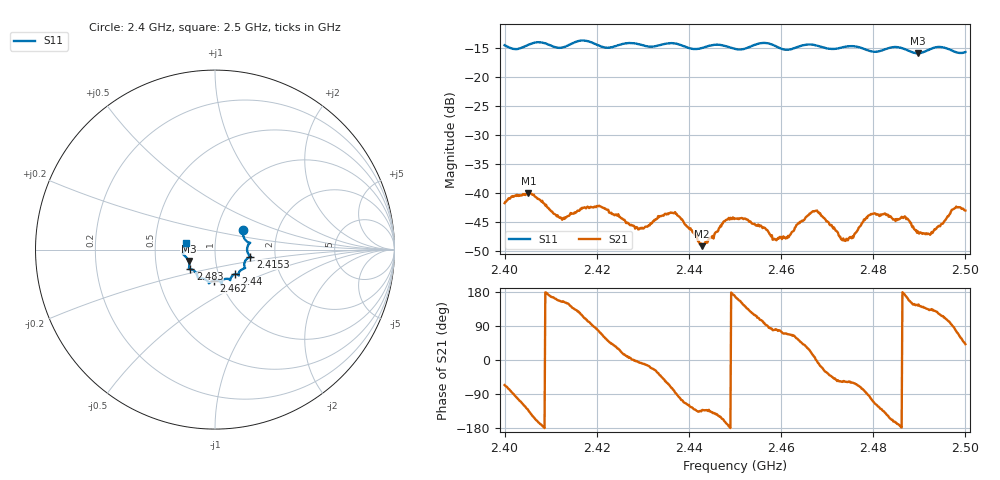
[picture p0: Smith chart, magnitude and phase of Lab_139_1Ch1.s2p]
# Hz S RI R 50
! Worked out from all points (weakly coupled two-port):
!   601 points, 2.4 GHz to 2.5 GHz, reference 50 ohm
!   highest |S21| = -40.01 dB at 2.4052 GHz (marker M1); lowest = -49.2 dB at 2.4428 GHz (marker M2)
!   lowest |S11| = -15.9 dB at 2.4897 GHz (marker M3), VSWR 1.38, Z = 36.9 - j4.81 ohm
!   |S11| at or under -10 dB: start of sweep to end of sweep
!   S12 and S22 are empty: the file has one direction only
!   S11 on the Smith chart (normalised r, x): 2.4 GHz: 1.33, +0.29; 2.4153 GHz: 1.48, -0.12; 2.44 GHz: 1.20, -0.34; 2.462 GHz: 0.93, -0.33; 2.483 GHz: 0.74, -0.17; 2.5 GHz: 0.72, +0.06
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2.4e9  0.1553 0.1064  0.00331 -0.00749  0 0  0 0
2.405167e9  0.1856 0.0397  -0.00682 -0.00731  0 0  0 0
2.412167e9  0.1788 -0.00271  -0.00557 0.00264  0 0  0 0
2.415333e9  0.1967 -0.0387  -0.00459 0.00491  0 0  0 0
2.416667e9  0.2022 -0.0428  -0.00361 0.00631  0 0  0 0
2.421e9  0.175 -0.054  0.00277 0.00708  0 0  0 0
2.428833e9  0.1625 -0.1047  0.005 -0.000326  0 0  0 0
2.433333e9  0.1312 -0.1336  0.00523 -0.00358  0 0  0 0
2.436833e9  0.1322 -0.1439  0.000918 -0.00665  0 0  0 0
2.44e9  0.1138 -0.1367  -0.00238 -0.00439  0 0  0 0
2.442833e9  0.0901 -0.1538  -0.00234 -0.00258  0 0  0 0
2.45e9  0.0648 -0.1626  -0.00588 0.00127  0 0  0 0
2.458667e9  0.033 -0.1832  0.00067 0.00396  0 0  0 0
2.462e9  -0.00525 -0.1732  0.00172 0.00402  0 0  0 0
2.466667e9  -0.0342 -0.1875  0.00654 0.00201  0 0  0 0
2.4735e9  -0.0842 -0.1604  0.0023 -0.00335  0 0  0 0
2.479333e9  -0.1051 -0.1303  -0.00102 -0.00642  0 0  0 0
2.483e9  -0.1376 -0.1095  -0.00535 -0.00368  0 0  0 0
2.483333e9  -0.1402 -0.1092  -0.00537 -0.0032  0 0  0 0
2.487167e9  -0.143 -0.0955  -0.00582 0.00128  0 0  0 0
2.489667e9  -0.1475 -0.0635  -0.00378 0.00277  0 0  0 0
2.5e9  -0.1596 0.0393  0.00527 0.00471  0 0  0 0
